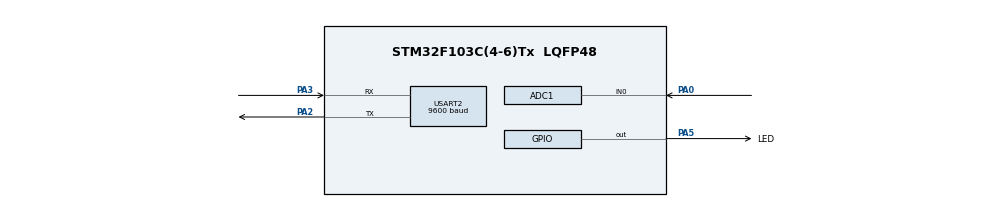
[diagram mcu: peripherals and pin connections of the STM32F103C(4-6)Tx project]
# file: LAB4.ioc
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ADC1.Channel-0\#ChannelRegularConversion=ADC_CHANNEL_0
ADC1.ContinuousConvMode=ENABLE
ADC1.NbrOfConversionFlag=1
ADC1.Rank-0\#ChannelRegularConversion=1
ADC1.SamplingTime-0\#ChannelRegularConversion=ADC_SAMPLETIME_1CYCLE_5
ADC1.master=1
Mcu.Family=STM32F1
Mcu.Name=STM32F103C(4-6)Tx
Mcu.Package=LQFP48
NVIC.PriorityGroup=NVIC_PRIORITYGROUP_4
NVIC.TIM2_IRQn=true\:0\:0\:false\:false\:true\:true\:true
NVIC.USART2_IRQn=true\:0\:0\:false\:false\:true\:true\:true
PA0-WKUP.Signal=ADCx_IN0
PA13.Mode=Serial_Wire
PA13.Signal=SYS_JTMS-SWDIO
PA14.Mode=Serial_Wire
PA14.Signal=SYS_JTCK-SWCLK
PA2.Mode=Asynchronous
PA2.Signal=USART2_TX
PA3.Mode=Asynchronous
PA3.Signal=USART2_RX
PA5.GPIO_Label=LED
PA5.Signal=GPIO_Output
ProjectManager.HeapSize=0x200
ProjectManager.StackSize=0x400
ProjectManager.TargetToolchain=STM32CubeIDE
RCC.APB1Freq_Value=8000000
RCC.APB2Freq_Value=8000000
SH.ADCx_IN0.0=ADC1_IN0,IN0
TIM2.Period=9
TIM2.Prescaler=7999
USART2.BaudRate=9600
USART2.VirtualMode=VM_ASYNC
VP_TIM2_VS_ClockSourceINT.Mode=Internal
board=custom

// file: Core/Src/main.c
/* USER CODE BEGIN Header */
/**
  ******************************************************************************
  * @file           : main.c
  * @brief          : Main program body
  ******************************************************************************
  * @attention
  *
  * <h2><center>&copy; Copyright (c) 2023 STMicroelectronics.
  * All rights reserved.</center></h2>
  *
  * This software component is licensed by ST under BSD 3-Clause license,
  * the "License"; You may not use this file except in compliance with the
  * License. You may obtain a copy of the License at:
  *                        opensource.org/licenses/BSD-3-Clause
  *
  ******************************************************************************
  */
/* USER CODE END Header */
#include "main.h"

/* USER CODE BEGIN PD */
#define INIT			0
#define RECEIVE1CHAR	1
#define STARTCMD		2

#define WAIT			3
#define START			4
#define WAITEND			5
#define MAX_BUFFER_SIZE	30

/* USER CODE END PD */

ADC_HandleTypeDef hadc1;

TIM_HandleTypeDef htim2;

UART_HandleTypeDef huart2;

void SystemClock_Config(void);
static void MX_GPIO_Init(void);
static void MX_ADC1_Init(void);
static void MX_USART2_UART_Init(void);
static void MX_TIM2_Init(void);
/* USER CODE BEGIN PFP */
void command_parser_fsm();
void uart_communication_fsm();
/* USER CODE END PFP */

/* USER CODE BEGIN 0 */
uint8_t str[10];
uint8_t temp = 0;
uint8_t buffer[MAX_BUFFER_SIZE];
uint8_t index_buffer = 0;
uint8_t buffer_flag = 0;
uint8_t command_flag = 0;
uint8_t RSTstr[] = "RST";
uint8_t OKstr[] = "OK";
uint8_t command_data[100];
uint8_t index_commnad_data = 0;
uint8_t compareState;
uint8_t commuState;
uint32_t ADC_value = 0;
/* USER CODE END 0 */

int main(void)
{

  /* MCU Configuration--------------------------------------------------------*/

  /* Reset of all peripherals, Initializes the Flash interface and the Systick. */
  HAL_Init();

  /* Configure the system clock */
  SystemClock_Config();

  /* Initialize all configured peripherals */
  MX_GPIO_Init();
  MX_ADC1_Init();
  MX_USART2_UART_Init();
  MX_TIM2_Init();
  /* USER CODE BEGIN 2 */
  HAL_TIM_Base_Start_IT(&htim2);
  /* USER CODE END 2 */

  /* Infinite loop */
  /* USER CODE BEGIN WHILE */
  HAL_UART_Receive_IT(&huart2, &temp, 1);
  compareState = INIT;
  commuState = INIT;
  while (1)
  {
	  if (buffer_flag == 1){
		  command_parser_fsm();
		  buffer_flag = 0;
	  }
	  uart_communication_fsm();
    /* USER CODE END WHILE */

  }
}

void SystemClock_Config(void)
{
  RCC_OscInitTypeDef RCC_OscInitStruct = {0};
  RCC_ClkInitTypeDef RCC_ClkInitStruct = {0};
  RCC_PeriphCLKInitTypeDef PeriphClkInit = {0};

  /** Initializes the RCC Oscillators according to the specified parameters
  * in the RCC_OscInitTypeDef structure.
  */
  RCC_OscInitStruct.OscillatorType = RCC_OSCILLATORTYPE_HSI;
  RCC_OscInitStruct.HSIState = RCC_HSI_ON;
  RCC_OscInitStruct.HSICalibrationValue = RCC_HSICALIBRATION_DEFAULT;
  RCC_OscInitStruct.PLL.PLLState = RCC_PLL_NONE;
  if (HAL_RCC_OscConfig(&RCC_OscInitStruct) != HAL_OK)
  {
    Error_Handler();
  }
  /** Initializes the CPU, AHB and APB buses clocks
  */
  RCC_ClkInitStruct.ClockType = RCC_CLOCKTYPE_HCLK|RCC_CLOCKTYPE_SYSCLK
                              |RCC_CLOCKTYPE_PCLK1|RCC_CLOCKTYPE_PCLK2;
  RCC_ClkInitStruct.SYSCLKSource = RCC_SYSCLKSOURCE_HSI;
  RCC_ClkInitStruct.AHBCLKDivider = RCC_SYSCLK_DIV1;
  RCC_ClkInitStruct.APB1CLKDivider = RCC_HCLK_DIV1;
  RCC_ClkInitStruct.APB2CLKDivider = RCC_HCLK_DIV1;

  if (HAL_RCC_ClockConfig(&RCC_ClkInitStruct, FLASH_LATENCY_0) != HAL_OK)
  {
    Error_Handler();
  }
  PeriphClkInit.PeriphClockSelection = RCC_PERIPHCLK_ADC;
  PeriphClkInit.AdcClockSelection = RCC_ADCPCLK2_DIV2;
  if (HAL_RCCEx_PeriphCLKConfig(&PeriphClkInit) != HAL_OK)
  {
    Error_Handler();
  }
}

static void MX_ADC1_Init(void)
{

  ADC_ChannelConfTypeDef sConfig = {0};

  /** Common config
  */
  hadc1.Instance = ADC1;
  hadc1.Init.ScanConvMode = ADC_SCAN_DISABLE;
  hadc1.Init.ContinuousConvMode = ENABLE;
  hadc1.Init.DiscontinuousConvMode = DISABLE;
  hadc1.Init.ExternalTrigConv = ADC_SOFTWARE_START;
  hadc1.Init.DataAlign = ADC_DATAALIGN_RIGHT;
  hadc1.Init.NbrOfConversion = 1;
  if (HAL_ADC_Init(&hadc1) != HAL_OK)
  {
    Error_Handler();
  }
  /** Configure Regular Channel
  */
  sConfig.Channel = ADC_CHANNEL_0;
  sConfig.Rank = ADC_REGULAR_RANK_1;
  sConfig.SamplingTime = ADC_SAMPLETIME_1CYCLE_5;
  if (HAL_ADC_ConfigChannel(&hadc1, &sConfig) != HAL_OK)
  {
    Error_Handler();
  }

}

static void MX_TIM2_Init(void)
{

  TIM_ClockConfigTypeDef sClockSourceConfig = {0};
  TIM_MasterConfigTypeDef sMasterConfig = {0};

  htim2.Instance = TIM2;
  htim2.Init.Prescaler = 7999;
  htim2.Init.CounterMode = TIM_COUNTERMODE_UP;
  htim2.Init.Period = 9;
  htim2.Init.ClockDivision = TIM_CLOCKDIVISION_DIV1;
  htim2.Init.AutoReloadPreload = TIM_AUTORELOAD_PRELOAD_DISABLE;
  if (HAL_TIM_Base_Init(&htim2) != HAL_OK)
  {
    Error_Handler();
  }
  sClockSourceConfig.ClockSource = TIM_CLOCKSOURCE_INTERNAL;
  if (HAL_TIM_ConfigClockSource(&htim2, &sClockSourceConfig) != HAL_OK)
  {
    Error_Handler();
  }
  sMasterConfig.MasterOutputTrigger = TIM_TRGO_RESET;
  sMasterConfig.MasterSlaveMode = TIM_MASTERSLAVEMODE_DISABLE;
  if (HAL_TIMEx_MasterConfigSynchronization(&htim2, &sMasterConfig) != HAL_OK)
  {
    Error_Handler();
  }

}

static void MX_USART2_UART_Init(void)
{

  huart2.Instance = USART2;
  huart2.Init.BaudRate = 9600;
  huart2.Init.WordLength = UART_WORDLENGTH_8B;
  huart2.Init.StopBits = UART_STOPBITS_1;
  huart2.Init.Parity = UART_PARITY_NONE;
  huart2.Init.Mode = UART_MODE_TX_RX;
  huart2.Init.HwFlowCtl = UART_HWCONTROL_NONE;
  huart2.Init.OverSampling = UART_OVERSAMPLING_16;
  if (HAL_UART_Init(&huart2) != HAL_OK)
  {
    Error_Handler();
  }

}

static void MX_GPIO_Init(void)
{
  GPIO_InitTypeDef GPIO_InitStruct = {0};

  /* GPIO Ports Clock Enable */
  __HAL_RCC_GPIOA_CLK_ENABLE();

  /*Configure GPIO pin Output Level */
  HAL_GPIO_WritePin(LED_GPIO_Port, LED_Pin, GPIO_PIN_RESET);

  /*Configure GPIO pin : LED_Pin */
  GPIO_InitStruct.Pin = LED_Pin;
  GPIO_InitStruct.Mode = GPIO_MODE_OUTPUT_PP;
  GPIO_InitStruct.Pull = GPIO_NOPULL;
  GPIO_InitStruct.Speed = GPIO_SPEED_FREQ_LOW;
  HAL_GPIO_Init(LED_GPIO_Port, &GPIO_InitStruct);

}

/* USER CODE BEGIN 4 */
void command_parser_fsm(){
	switch (compareState) {
		case INIT:
			HAL_UART_Transmit(&huart2,"INIT STATE\r\n", sizeof("INIT STATE\r\n") ,500);

			index_buffer = 0;
			for (int i = 0 ; i < 30;i++){
				buffer[i] = 0;
			}
			command_flag = 0;
			if ((char)temp == '!'){
				HAL_GPIO_TogglePin(LED_GPIO_Port, LED_Pin);
				compareState = STARTCMD;
			}
			else {
				compareState = RECEIVE1CHAR;
			}
			break;
		case RECEIVE1CHAR:
			if ((char)temp == '!'){
				HAL_GPIO_TogglePin(LED_GPIO_Port, LED_Pin);
				compareState = STARTCMD;
			}
			break;
		case STARTCMD:
			if ((char)temp == '!'){
				index_buffer = 0;
				for (int i = 0 ; i < 30;i++){
					buffer[i] = 0;
				}
				command_flag = 0;
			}
			else if ((char)temp == '#'){
				for (int i = 0 ;i < index_buffer;i++){
					command_data[i] = buffer[i];
				}
				index_commnad_data = index_buffer;

				index_buffer = 0;
				for (int i = 0 ; i < 30;i++){
					buffer[i] = 0;
				}
				command_flag = 1;
				compareState = RECEIVE1CHAR;
			}
			else {
				buffer[index_buffer++] = temp;
				if (index_buffer == 30) index_buffer = 0;
			}
			break;
		default:
			break;
	}
}
uint8_t compareRSTstr(){
	uint8_t cmp = strcmp(RSTstr,command_data);
	if(cmp == 0){
		return 1;
	}
	else{
		return 0;
	}
}
uint8_t compareOKstr(){
	uint8_t cmp = strcmp(OKstr,command_data);
	if(cmp == 0){
		return 1;
	}
	else{
		return 0;
	}
}
void uart_communication_fsm(){
	switch (commuState) {
		case INIT:
			commuState = WAIT;
			break;
		case WAIT:
			if (command_flag == 1){
				HAL_GPIO_TogglePin(LED_GPIO_Port, LED_Pin);
				uint8_t flag = compareRSTstr();

				command_flag = 0;
				for (int i = 0 ; i < index_commnad_data;i++){
					command_data[i] = 0;
				}
				index_commnad_data = 0;
				if (flag == 1){
					commuState = START;
					setTimer1(20);
				}
			}
			break;
		case START:
			if (command_flag == 1){
				uint8_t flag = compareOKstr();

				command_flag = 0;
				for (int i = 0 ; i < index_commnad_data;i++){
					command_data[i] = 0;
				}
				index_commnad_data = 0;
				if (flag == 1){
					commuState = WAITEND;
				}
			}
			if (timer1_flag == 1){
				setTimer1(300);
				HAL_ADC_Start(&hadc1);
				ADC_value = HAL_ADC_GetValue(&hadc1);
				HAL_UART_Transmit(&huart2, (void*) str, sprintf(str,"!%d#\r\n",ADC_value), 500);
			}
			break;
		case WAITEND:
			commuState = WAIT;
			break;
		default:
			break;
	}
}

void HAL_TIM_PeriodElapsedCallback(TIM_HandleTypeDef *htim){
	timerRun();
}
void HAL_UART_RxCpltCallback(UART_HandleTypeDef * huart){
	if ( huart->Instance == USART2){
		HAL_UART_Transmit(&huart2, &temp, 1, 50);
		buffer_flag = 1;
		HAL_UART_Receive_IT(&huart2, &temp, 1);
	}
}
/* USER CODE END 4 */

void Error_Handler(void)
{
  __disable_irq();
  while (1)
  {
  }
}

/************************ (C) COPYRIGHT STMicroelectronics *****END OF FILE****/
